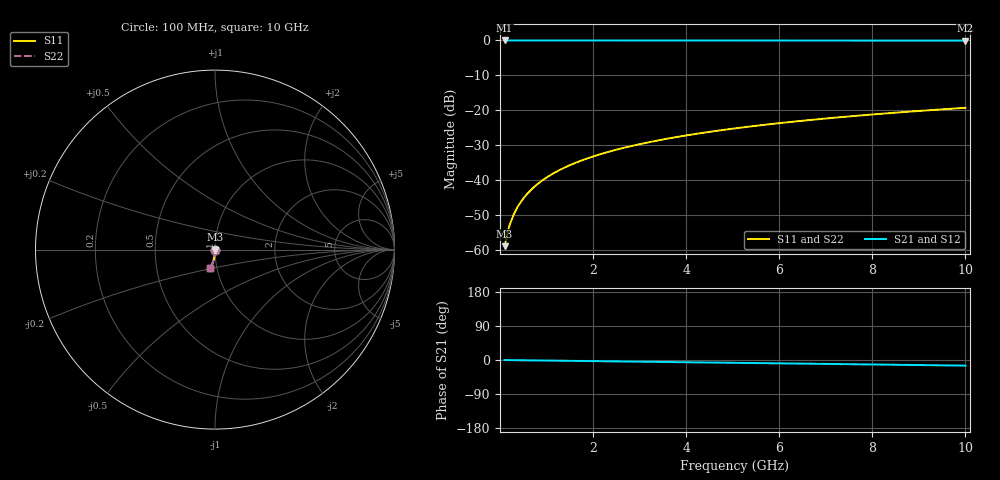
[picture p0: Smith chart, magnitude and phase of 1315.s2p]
# Hz S RI R 50.00
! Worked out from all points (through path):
!   100 points, 100 MHz to 10 GHz, reference 50 ohm
!   highest |S21| = 0.00 dB at 100 MHz (marker M1); lowest = -0.1 dB at 10 GHz (marker M2)
!   group delay of S21, straight-line fit = 4.11 ps
!   lowest |S11| = -58.9 dB at 100 MHz (marker M3), VSWR 1.00, Z = 50 - j0.109 ohm
!   |S11| at or under -10 dB: start of sweep to end of sweep
!   |S22| runs from -58.9 to -19.3 dB; largest |S21 - S12| = 0
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1e8  0.000314 -0.00109  0.9997 -0.00257  0.9997 -0.00257  0.000314 -0.00109
2e8  0.000306 -0.00218  0.9997 -0.00513  0.9997 -0.00513  0.000306 -0.00218
3e8  0.000292 -0.00327  0.9996 -0.0077  0.9996 -0.0077  0.000292 -0.00327
4e8  0.000272 -0.00436  0.9996 -0.0103  0.9996 -0.0103  0.000272 -0.00436
5e8  0.000246 -0.00545  0.9996 -0.0128  0.9996 -0.0128  0.000246 -0.00545
6e8  0.000215 -0.00654  0.9995 -0.0154  0.9995 -0.0154  0.000215 -0.00654
7e8  0.000177 -0.00763  0.9995 -0.018  0.9995 -0.018  0.000177 -0.00763
8e8  0.000135 -0.00872  0.9994 -0.0205  0.9994 -0.0205  0.000135 -0.00872
9e8  8.6e-05 -0.00981  0.9993 -0.0231  0.9993 -0.0231  8.6e-05 -0.00981
1.1e9  -2.8e-05 -0.012  0.9992 -0.0282  0.9992 -0.0282  -2.8e-05 -0.012
1.4e9  -0.000241 -0.0153  0.9989 -0.0359  0.9989 -0.0359  -0.000241 -0.0153
1.8e9  -0.000604 -0.0196  0.9984 -0.0462  0.9984 -0.0462  -0.000604 -0.0196
2.1e9  -0.000936 -0.0229  0.9979 -0.0539  0.9979 -0.0539  -0.000936 -0.0229
2.5e9  -0.00146 -0.0272  0.9972 -0.0642  0.9972 -0.0642  -0.00146 -0.0272
2.9e9  -0.00207 -0.0316  0.9963 -0.0744  0.9963 -0.0744  -0.00207 -0.0316
3.4e9  -0.00296 -0.037  0.9951 -0.0872  0.9951 -0.0872  -0.00296 -0.037
4.2e9  -0.00467 -0.0456  0.9927 -0.1077  0.9927 -0.1077  -0.00467 -0.0456
5.1e9  -0.00702 -0.0552  0.9894 -0.1307  0.9894 -0.1307  -0.00702 -0.0552
5.9e9  -0.00949 -0.0636  0.986 -0.151  0.986 -0.151  -0.00949 -0.0636
6.7e9  -0.0123 -0.072  0.982 -0.1713  0.982 -0.1713  -0.0123 -0.072
8.4e9  -0.0194 -0.0893  0.972 -0.214  0.972 -0.214  -0.0194 -0.0893
1e10  -0.0275 -0.1049  0.9606 -0.2537  0.9606 -0.2537  -0.0275 -0.1049
